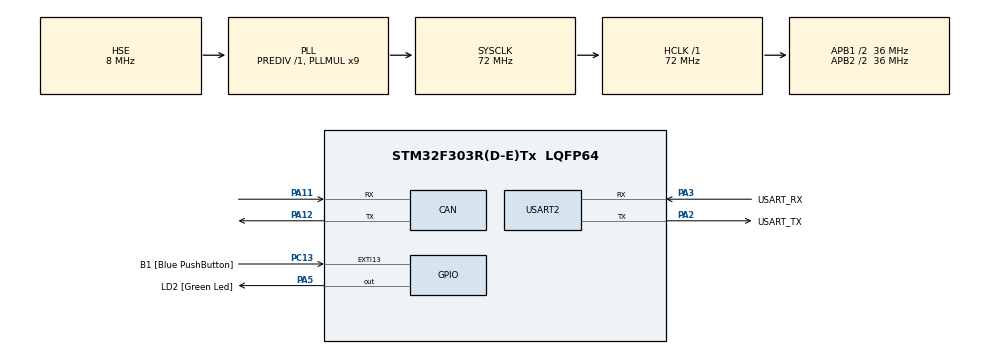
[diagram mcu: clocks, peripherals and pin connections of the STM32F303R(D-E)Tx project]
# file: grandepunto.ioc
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CAN.BS1=CAN_BS1_1TQ
CAN.BS2=CAN_BS2_1TQ
CAN.CalculateTimeQuantum=444.44444444444446
Mcu.Family=STM32F3
Mcu.Name=STM32F303R(D-E)Tx
Mcu.Package=LQFP64
NVIC.PriorityGroup=NVIC_PRIORITYGROUP_0
PA11.Mode=Master
PA11.Signal=CAN_RX
PA12.Mode=Master
PA12.Signal=CAN_TX
PA13.GPIO_Label=TMS
PA13.Mode=Serial_Wire
PA13.Signal=SYS_JTMS-SWDIO
PA14.GPIO_Label=TCK
PA14.Mode=Serial_Wire
PA14.Signal=SYS_JTCK-SWCLK
PA2.GPIO_Label=USART_TX
PA2.GPIO_Mode=GPIO_MODE_AF_PP
PA2.GPIO_PuPd=GPIO_NOPULL
PA2.GPIO_Speed=GPIO_SPEED_FREQ_LOW
PA2.Mode=Asynchronous
PA2.Signal=USART2_TX
PA3.GPIO_Label=USART_RX
PA3.GPIO_Mode=GPIO_MODE_AF_PP
PA3.GPIO_PuPd=GPIO_NOPULL
PA3.GPIO_Speed=GPIO_SPEED_FREQ_LOW
PA3.Mode=Asynchronous
PA3.Signal=USART2_RX
PA5.GPIO_Label=LD2 [Green Led]
PA5.GPIO_Mode=GPIO_MODE_OUTPUT_PP
PA5.GPIO_PuPd=GPIO_NOPULL
PA5.GPIO_Speed=GPIO_SPEED_FREQ_LOW
PA5.Signal=GPIO_Output
PB3.GPIO_Label=SWO
PB3.Signal=SYS_JTDO-TRACESWO
PC13.GPIO_Label=B1 [Blue PushButton]
PC13.GPIO_ModeDefaultEXTI=GPIO_MODE_IT_FALLING
PC13.Signal=GPXTI13
PC14-OSC32_IN.Mode=LSE-External-Oscillator
PC14-OSC32_IN.Signal=RCC_OSC32_IN
PC15-OSC32_OUT.Mode=LSE-External-Oscillator
PC15-OSC32_OUT.Signal=RCC_OSC32_OUT
PF0-OSC_IN.Mode=HSE-External-Clock-Source
PF0-OSC_IN.Signal=RCC_OSC_IN
PF1-OSC_OUT.Signal=RCC_OSC_OUT
ProjectManager.HeapSize=0x200
ProjectManager.StackSize=0x400
ProjectManager.TargetToolchain=STM32CubeIDE
RCC.AHBFreq_Value=72000000
RCC.APB1CLKDivider=RCC_HCLK_DIV2
RCC.APB1Freq_Value=36000000
RCC.APB1TimFreq_Value=72000000
RCC.APB2CLKDivider=RCC_HCLK_DIV2
RCC.APB2Freq_Value=36000000
RCC.APB2TimFreq_Value=72000000
RCC.CortexFreq_Value=72000000
RCC.HCLKFreq_Value=72000000
RCC.HSE_VALUE=8000000
RCC.HSI_VALUE=8000000
RCC.PLLM=8
RCC.PLLMUL=RCC_PLL_MUL9
RCC.PLLN=336
RCC.PLLP=RCC_PLLP_DIV4
RCC.PLLQ=7
RCC.PLLSourceVirtual=RCC_PLLSOURCE_HSE
RCC.RCC_PLLsource_Clock_Source_FROM_HSE=RCC_HSE_PREDIV_DIV2
RCC.SYSCLKFreq_VALUE=72000000
RCC.SYSCLKSourceVirtual=RCC_SYSCLKSOURCE_PLLCLK
RCC.USBFreq_Value=72000000
USART2.VirtualMode-Asynchronous=VM_ASYNC
VP_TIM6_VS_ClockSourceINT.Mode=Enable_Timer
VP_TIM7_VS_ClockSourceINT.Mode=Enable_Timer
board=NUCLEO-F303RE

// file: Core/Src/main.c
/* USER CODE BEGIN Header */
/**
  ******************************************************************************
  * @file           : main.c
  * @brief          : Main program body
  ******************************************************************************
  * @attention
  *
  * <h2><center>&copy; Copyright (c) 2020 STMicroelectronics.
  * All rights reserved.</center></h2>
  *
  * This software component is licensed by ST under BSD 3-Clause license,
  * the "License"; You may not use this file except in compliance with the
  * License. You may obtain a copy of the License at:
  *                        opensource.org/licenses/BSD-3-Clause
  *
  ******************************************************************************
  */

/* USER CODE END Header */

#include "main.h"
#include "stm32f3xx_it.h"
#include "CanLibrary.h"
/* USER CODE BEGIN Includes */
#include "stm32f3xx_hal.h"
#include "stm32f303xe.h"
#include <string.h>
#include <stdio.h>
#include <stdint.h>
#include <stdlib.h>
#include <inttypes.h>

/* USER CODE END Includes */

/* USER CODE BEGIN PD */
#define TRUE 1
#define FALSE 0
#define FIFO_BUFFER g_rxFifo;
#define USART_HEADER_LENGTH 6
#define USART_ID_LENGTH 7
#define USART_DLC_LENGTH 1
#define USART_MAX_MESSAGE_LENGTH 17
#define USART_DLC_LOCATION 23
#define LENGTH_CARRIGE_RETURN_SIGN 1
#define MAX_BUFFER_LENGTH 70
/* USER CODE END PD */

CAN_HandleTypeDef hcan;
TIM_HandleTypeDef htim6;
TIM_HandleTypeDef htim7;
UART_HandleTypeDef huart2;

/* USER CODE BEGIN PV */
CAN_TxHeaderTypeDef CanTxHeader;
CAN_MessageTypeDef canUartBuffer;
uint8_t timer200ms = 0;
uint8_t timer1000ms = 0;
uint8_t bufferUINT8[70];

/* USER CODE END PV */

void SystemClock_Config(void);
static void MX_GPIO_Init(void);
static void MX_USART2_UART_Init(void);
static void MX_CAN_Init(void);
static void MX_TIM6_Init(void);
static void MX_TIM7_Init(void);
/* USER CODE BEGIN PFP */
void SystemClockConfig(void);
void UART2_Init(void);
void HAL_UART_RxCpltCallback(UART_HandleTypeDef *huart);
void HAL_UART_TxCpltCallback(UART_HandleTypeDef *huart);
void Clear_Array(uint8_t array[], uint16_t size);
void Print_CAN_Frame(char CanFrameName[], uint32_t CanID, uint32_t CanDlc, uint8_t CANmsg[]);
void Parse_From_UART(char CanFrame[]);
uint8_t* Convert_To_HEX(char *string);
void Save_Data_To_CAN_Frame(CAN_MessageTypeDef *canBuffer);
void HAL_TIM_PeriodElapsedCallback(TIM_HandleTypeDef *htim);
/* USER CODE END PFP */

/* USER CODE BEGIN 0 */
// CAN_MessageTypeDef CANsampleData;
uint8_t CANmsg[8] = {0};
uint8_t CANmsgPrintTx[8] = {0}; // char table only for printing from interrupts.
uint8_t data_buffer[MAX_BUFFER_LENGTH];
uint16_t count = 0;
uint8_t rcvd_data;
uint8_t flag_UART_TX_COMPLETED = FALSE;
uint8_t flag_UART_RX_COMPLETED = FALSE;
uint8_t flag_UART_SEND_DATA = TRUE;
CAN_MessageTypeDef canUartBuffer;
HAL_UART_StateTypeDef state;
/* USER CODE END 0 */

int main(void)
{

  /* MCU Configuration--------------------------------------------------------*/

  /* Reset of all peripherals, Initializes the Flash interface and the Systick. */
	HAL_Init();

  /* Configure the system clock */
  SystemClock_Config();

  /* Initialize all configured peripherals */
  MX_GPIO_Init();
  MX_USART2_UART_Init();
  MX_CAN_Init();
  MX_TIM6_Init();
  MX_TIM7_Init();
  /* USER CODE BEGIN 2 */
  CAN_Filter_Conifg();

  if (HAL_CAN_ActivateNotification(&hcan, CAN_IT_TX_MAILBOX_EMPTY | CAN_IT_RX_FIFO0_MSG_PENDING  | CAN_IT_BUSOFF) != HAL_OK )
  {
	  Error_Handler("CAN interrupts activation error");
  }

  if ((HAL_CAN_Start(&hcan)) != HAL_OK)
  {
	  Error_Handler("CAN start error");
  }
HAL_TIM_Base_Start_IT(&htim6);
HAL_UART_Receive_IT(&huart2, &rcvd_data, 1); // przerwanie obslugujące wiadomosci przychodzace po UART.

  /* USER CODE END 2 */

  /* Infinite loop */
  /* USER CODE BEGIN WHILE */
  while (1)
  {

  if (flag_UART_SEND_DATA == TRUE)
	  	  {
		  if (timer200ms >= 1) // When 200ms elapses
			  {
			  	  /* TEST DATA 200ms */
			CAN_Tx(IPC_StatusBCM.ID, IPC_StatusBCM.DLC, IPC_StatusBCM.CAN_Tx);
	  	    HAL_Delay(10);

	        CAN_Tx(IPC_Ligths.ID, IPC_Ligths.DLC, IPC_Ligths.CAN_Tx);
	  	    HAL_Delay(10);

	        CAN_Tx(IPC_Vehicle_Setup.ID, IPC_Vehicle_Setup.DLC, IPC_Vehicle_Setup.CAN_Tx);
	  	    HAL_Delay(10);

	        CAN_Tx(STATUS_IPC.ID, STATUS_IPC.DLC, STATUS_IPC.CAN_Tx);
	  	    HAL_Delay(10);
        /*
          CAN_Tx(IPC_StatusBCM.ID, IPC_StatusBCM.DLC, IPC_StatusBCM.CAN_Tx);
          HAL_Delay(50);

          CAN_Tx(IPC_SeatBelts.ID, IPC_SeatBelts.DLC, IPC_SeatBelts.CAN_Tx);
          HAL_Delay(50);

          CAN_Tx(IPC_EngineInfo.ID, IPC_EngineInfo.DLC, IPC_EngineInfo.CAN_Tx);
          HAL_Delay(50);

          CAN_Tx(IPC_StatusB_EPS.ID, IPC_StatusB_EPS.DLC, IPC_StatusB_EPS.CAN_Tx);
          HAL_Delay(50);

          CAN_Tx(IPC_StatusB_BSM.ID, IPC_StatusB_BSM.DLC, IPC_StatusB_BSM.CAN_Tx);
          HAL_Delay(50);

          CAN_Tx(IPC_SpeedOdometerInfo.ID, IPC_SpeedOdometerInfo.DLC, IPC_SpeedOdometerInfo.CAN_Tx);
          HAL_Delay(50);

          CAN_Tx(IPC_Ligths.ID, IPC_Ligths.DLC, IPC_Ligths.CAN_Tx);
          HAL_Delay(50);

          CAN_Tx(IPC_HeartBeat.ID, IPC_HeartBeat.DLC, IPC_HeartBeat.CAN_Tx);
          HAL_Delay(50);

          HAL_Delay(20);

          Print_CAN_Frame("Tx", IPC_Ligths.ID, IPC_Ligths.DLC, IPC_Ligths.CAN_Tx);
          HAL_Delay(1000);

        */
			  	 timer200ms = 0;

			  }
		  else if (timer1000ms >= 5) // When 1000ms elapses
			  {
			  	  /* TEST DATA 1000ms */

				  timer200ms = 0;
				  timer1000ms = 0;

			  }
	  	 }
    while((flag_UART_RX_COMPLETED && flag_UART_TX_COMPLETED))
	  		{
	  			if (data_buffer[0] == 'S' || data_buffer[0] =='E') // if received data is START / END tx Transmission:
	  			{
	  				Clear_Array(data_buffer, (uint16_t)(strlen(data_buffer)));
	  				count = 0;
	  				flag_UART_RX_COMPLETED = FALSE;
	  				flag_UART_TX_COMPLETED = FALSE;
	  				HAL_UART_Receive_IT(&huart2, &rcvd_data, 1);
	  			}
	  			else
	  			{
				//	HAL_Delay(10); // Wait for message being sent fully
				//	Parse_From_UART(data_buffer);
					CAN_Tx(canUartBuffer.ID, canUartBuffer.DLC,canUartBuffer.CAN_Tx);
					Save_Data_To_CAN_Frame(&canUartBuffer);
					Clear_Array(data_buffer, MAX_BUFFER_LENGTH);
					count = 0;
					flag_UART_RX_COMPLETED = FALSE;
					flag_UART_TX_COMPLETED = FALSE;
	  			}
	  		}
    /* USER CODE END WHILE */

  }
}

void SystemClock_Config(void)
{
  RCC_OscInitTypeDef RCC_OscInitStruct = {0};
  RCC_ClkInitTypeDef RCC_ClkInitStruct = {0};
  RCC_PeriphCLKInitTypeDef PeriphClkInit = {0};

  /** Initializes the CPU, AHB and APB busses clocks
  */
  RCC_OscInitStruct.OscillatorType = RCC_OSCILLATORTYPE_HSE;
  RCC_OscInitStruct.HSEState = RCC_HSE_ON;
//  RCC_OscInitStruct.HSEState = RCC_HSE_BYPASS;
//  RCC_OscInitStruct.HSIState = RCC_HSI_ON;
  RCC_OscInitStruct.PLL.PLLState = RCC_PLL_ON;
  RCC_OscInitStruct.PLL.PLLSource = RCC_PLLSOURCE_HSE;
  RCC_OscInitStruct.PLL.PLLMUL = RCC_PLL_MUL9;
  RCC_OscInitStruct.PLL.PREDIV = RCC_PREDIV_DIV1;
  if (HAL_RCC_OscConfig(&RCC_OscInitStruct) != HAL_OK)
  {
    Error_Handler("System Clock initialization error");
  }
  /** Initializes the CPU, AHB and APB busses clocks
  */
  RCC_ClkInitStruct.ClockType = RCC_CLOCKTYPE_HCLK|RCC_CLOCKTYPE_SYSCLK
                              |RCC_CLOCKTYPE_PCLK1|RCC_CLOCKTYPE_PCLK2;
  RCC_ClkInitStruct.SYSCLKSource = RCC_SYSCLKSOURCE_PLLCLK;
  RCC_ClkInitStruct.AHBCLKDivider = RCC_SYSCLK_DIV1;
  RCC_ClkInitStruct.APB1CLKDivider = RCC_HCLK_DIV2;
  RCC_ClkInitStruct.APB2CLKDivider = RCC_HCLK_DIV2;

  if (HAL_RCC_ClockConfig(&RCC_ClkInitStruct, FLASH_LATENCY_2) != HAL_OK)
  {
    Error_Handler("System Clock Config error");
  }
  PeriphClkInit.PeriphClockSelection = RCC_PERIPHCLK_USART2;
  PeriphClkInit.Usart2ClockSelection = RCC_USART2CLKSOURCE_PCLK1;
  if (HAL_RCCEx_PeriphCLKConfig(&PeriphClkInit) != HAL_OK)
  {
	  Error_Handler("System Clock Config error");
  }
}

static void MX_CAN_Init(void)
{

  /* USER CODE BEGIN CAN_Init 1 */
	/**
	 *  DWI: Paramters described below are based on http://www.bittiming.can-wiki.info/
	 *  Paramters were adjusted for CAN LowSpeed Network in FIAT GRANDE PUNTO: 50kbps
	 */

  hcan.Instance = CAN;
  hcan.Init.Prescaler = 45;
  hcan.Init.Mode = CAN_MODE_NORMAL;
  hcan.Init.SyncJumpWidth = CAN_SJW_1TQ;
  hcan.Init.TimeSeg1 = CAN_BS1_13TQ;
  hcan.Init.TimeSeg2 = CAN_BS2_2TQ;
  /* USER CODE END CAN_Init 1 */
  hcan.Init.TimeTriggeredMode = DISABLE;
  hcan.Init.AutoBusOff = DISABLE;
  hcan.Init.AutoWakeUp = DISABLE;
  hcan.Init.AutoRetransmission = DISABLE;
  hcan.Init.ReceiveFifoLocked = DISABLE; // DWI: New message will overwrite existing message in FIFO memory
  hcan.Init.TransmitFifoPriority = DISABLE; // DWI: Priority driven by the identifier of the message
  if (HAL_CAN_Init(&hcan) != HAL_OK)
  {
    Error_Handler("CAN initialization error");
  }

}

static void MX_TIM6_Init(void)
{

//  TIM_MasterConfigTypeDef sMasterConfig = {0};

  htim6.Instance = TIM6;
  htim6.Init.Prescaler = 224; // 200ms Interrupt
  htim6.Init.CounterMode = TIM_COUNTERMODE_UP;
  htim6.Init.Period = (63999);
 htim6.Init.AutoReloadPreload = TIM_AUTORELOAD_PRELOAD_DISABLE;
  if (HAL_TIM_Base_Init(&htim6) != HAL_OK)
  {
    Error_Handler("TIMER 6 initialization error");
  }
 // sMasterConfig.MasterOutputTrigger = TIM_TRGO_RESET;
 // sMasterConfig.MasterSlaveMode = TIM_MASTERSLAVEMODE_DISABLE;
 // if (HAL_TIMEx_MasterConfigSynchronization(&htim6, &sMasterConfig) != HAL_OK)
 // {
//	Error_Handler("TIMER 6 configuration error");
 // }

}

static void MX_TIM7_Init(void)
{
#if 0

  TIM_MasterConfigTypeDef sMasterConfig = {0};

  htim7.Instance = TIM7;
  htim7.Init.Prescaler = 0;
  htim7.Init.CounterMode = TIM_COUNTERMODE_UP;
  htim7.Init.Period = 0;
  htim7.Init.AutoReloadPreload = TIM_AUTORELOAD_PRELOAD_DISABLE;
  if (HAL_TIM_Base_Init(&htim7) != HAL_OK)
  {
	 Error_Handler("TIMER 7 initialization error");
  }
  sMasterConfig.MasterOutputTrigger = TIM_TRGO_RESET;
  sMasterConfig.MasterSlaveMode = TIM_MASTERSLAVEMODE_DISABLE;
  if (HAL_TIMEx_MasterConfigSynchronization(&htim7, &sMasterConfig) != HAL_OK)
  {
	  Error_Handler("TIMER 7 configuration error");
  }
#endif
}

static void MX_USART2_UART_Init(void)
{

  huart2.Instance = USART2;
  huart2.Init.BaudRate = 115200;
  huart2.Init.WordLength = UART_WORDLENGTH_8B;
  huart2.Init.StopBits = UART_STOPBITS_1;
  huart2.Init.Parity = UART_PARITY_NONE;
  huart2.Init.Mode = UART_MODE_TX_RX;
  huart2.Init.HwFlowCtl = UART_HWCONTROL_NONE;
  huart2.Init.OverSampling = UART_OVERSAMPLING_16;
  huart2.Init.OneBitSampling = UART_ONE_BIT_SAMPLE_DISABLE;
  huart2.AdvancedInit.AdvFeatureInit = UART_ADVFEATURE_NO_INIT;
  if (HAL_UART_Init(&huart2) != HAL_OK)
  {
    Error_Handler("USART 2 initialization error");
  }

}

static void MX_GPIO_Init(void)
{
  GPIO_InitTypeDef GPIO_InitStruct = {0};

  /* GPIO Ports Clock Enable */
  __HAL_RCC_GPIOC_CLK_ENABLE();
  __HAL_RCC_GPIOF_CLK_ENABLE();
  __HAL_RCC_GPIOA_CLK_ENABLE();
  __HAL_RCC_GPIOB_CLK_ENABLE();

  /*Configure GPIO pin Output Level */
  HAL_GPIO_WritePin(LD2_GPIO_Port, LD2_Pin, GPIO_PIN_RESET);

  /*Configure GPIO pin : B1_Pin */
  GPIO_InitStruct.Pin = B1_Pin;
  GPIO_InitStruct.Mode = GPIO_MODE_IT_FALLING;
  GPIO_InitStruct.Pull = GPIO_NOPULL;
  HAL_GPIO_Init(B1_GPIO_Port, &GPIO_InitStruct);

  /*Configure GPIO pin : LD2_Pin */
  GPIO_InitStruct.Pin = LD2_Pin;
  GPIO_InitStruct.Mode = GPIO_MODE_OUTPUT_PP;
  GPIO_InitStruct.Pull = GPIO_NOPULL;
  GPIO_InitStruct.Speed = GPIO_SPEED_FREQ_LOW;
  HAL_GPIO_Init(LD2_GPIO_Port, &GPIO_InitStruct);

}

/* USER CODE BEGIN 4 */

/**
  * @brief DWI: Print CAN message on UART
  *
  * @param CanFrameName[] - name of CAN frame as string (f.e.: "Tx","Rx",...)
  * @param CanID - identifier of CAN frame
  * @param CanDLC - data length of CAN frame
  * @param CanMsg[] - usefull data of CAN frame
  *
  * @retval Function prints CAN message on UART
  */
void Print_CAN_Frame(char CanFrameName[], uint32_t CanID, uint32_t CanDlc, uint8_t CANmsg[])
{
	char buffer[70] = {0};
	sprintf(buffer,"CAN_%s| ID:0x%02X| DLC:%d| FRAME: ",CanFrameName,(unsigned int)CanID,(unsigned int)CanDlc);
	for (uint16_t i = 0; i<CanDlc; i++)
		{
			sprintf(buffer+strlen(buffer),"%02X ",*(CANmsg+i)); // SAVE all DATA elements one by one
		}
	sprintf(buffer+strlen(buffer),"\n\r");

	/* WORKAROUND: HAL_UART_Transmit_IT have probelms to accept char array ( even typecased by memcpy() ). Manual typecasting implemented */
	Clear_Array(bufferUINT8, 70);
	for (uint8_t i = 0U; i<strlen(buffer);i++)
		{
			bufferUINT8[i] = (uint8_t)buffer[i];
		}

	if (HAL_UART_Transmit_IT(&huart2, bufferUINT8, strlen(buffer)) != HAL_OK)
	 	 {
	 		HAL_Delay(10);
	 		//Error_Handler();
	 	 }
}

/**
  * @brief by DWI: PeroidElapseCallback to callback after definied perioid of time elapse. Driver will call this function.
  * @param None
  * @retval None
  */

void HAL_TIM_PeriodElapsedCallback(TIM_HandleTypeDef *htim)
{
	timer200ms=timer200ms+1;
	timer1000ms=timer1000ms+1;

}

/**
  * @brief by DWI: CAN TX handle function for CAN Extended
  * @param None
  * @retval None
  */

void CAN_Tx(uint32_t CanID, uint8_t CanDLC, uint8_t CANmsg[])
{
	uint32_t pTxMailbox;
	CanTxHeader.DLC = CanDLC;
	CanTxHeader.ExtId = CanID;
	CanTxHeader.IDE = CAN_ID_EXT;
	CanTxHeader.RTR = CAN_RTR_DATA;

	if ((HAL_CAN_AddTxMessage(&hcan, &CanTxHeader, CANmsg, &pTxMailbox)) != HAL_OK )
	{
		Error_Handler("CAN TX error");
	}

	for (int i=0; i < CanDLC; i++)
	{
		CANmsgPrintTx[i] = CANmsg[i]; // DWI: Only copy value of CANmsg to global variable for UART communication purposes.
	}

//	while(HAL_CAN_IsTxMessagePending(&hcan, pTxMailbox));
//	Print_CAN_Frame("Tx",CanTxHeader.ExtId, CanTxHeader.DLC, CANmsg);

}

void HAL_UART_RxCpltCallback(UART_HandleTypeDef *huart)
{
	if (rcvd_data == '\r')
	{
		data_buffer[count++] = '\r';
		flag_UART_RX_COMPLETED = TRUE;
		if (data_buffer[0] == 'S' && data_buffer[1] == 'T')
			{
				flag_UART_SEND_DATA = TRUE;
			}
		else if ((data_buffer[0] == 'E' && data_buffer[1] == 'D') || (data_buffer[0] == 'E' && data_buffer[1] == 'E'))
			{
				flag_UART_SEND_DATA = FALSE;
				HAL_UART_Transmit_IT(&huart2, data_buffer, count);
				while (HAL_UART_GetState(&huart2) != HAL_UART_STATE_BUSY_TX);
				count = 0;
				HAL_UART_Receive_IT(&huart2, &rcvd_data, 1);
				return;
			}

		/* Waiting for ready of USART 2 port. Without waiting (retrasmission) code working better */
		while ((HAL_UART_GetState(&huart2) != HAL_UART_STATE_READY) && (flag_UART_TX_COMPLETED != 1));
		if (HAL_UART_Transmit_IT(&huart2, data_buffer, count) != HAL_OK)
		{
			 HAL_Delay(10); // if HAL_BUSY wait 10ms and wait for retransmission
			// Error_Handler(); // if HAL_ERROR
		}
		count = 0;
	}
	else
	{
		data_buffer[count++] = rcvd_data;
	}
	HAL_UART_Receive_IT(&huart2, &rcvd_data, 1);
}

void HAL_UART_TxCpltCallback(UART_HandleTypeDef *huart)
{
		flag_UART_TX_COMPLETED = TRUE;
}

/**
  * @brief by DWI: CAN RX handle function
  * @param None
  * @retval None
  */
void CAN_Rx(void)
{
/* DWI: Communication based on interrupts have been implemented. Function no longer needed.

	CAN_RxHeaderTypeDef CanRxHeader;
	uint8_t CANmsgRCVbuffer[8] = {};

	// DWI: wait for minimum one message in RX FIFO memory
	while(!(HAL_CAN_GetRxFifoFillLevel(&hcan, CAN_RX_FIFO0)));

	// DWI: Function to handle receiving messages.
	if ((HAL_CAN_GetRxMessage(&hcan, CAN_RX_FIFO0, &CanRxHeader, CANmsgRCVbuffer)) != HAL_OK)
	{
		Error_Handler();
	}
	Print_CAN_Frame("Rx",CanRxHeader.ExtId, CanRxHeader.DLC, CANmsgRCVbuffer);
*/
}

/**
  * @brief by DWI: CAN Acceptance Filter Configuration - v.1: Accept all frames
  * @param None
  * @retval None
  */
void CAN_Filter_Conifg(void)

{
	CAN_FilterTypeDef CANfilter;

	CANfilter.FilterBank = 0;
	CANfilter.FilterFIFOAssignment = CAN_FILTER_FIFO0;
	CANfilter.FilterIdHigh = 0x0000;
	CANfilter.FilterIdLow = 0x0000;
	CANfilter.FilterMaskIdHigh = 0x0000;
	CANfilter.FilterMaskIdLow = 0x0000;
	CANfilter.FilterMode = CAN_FILTERMODE_IDMASK;
	CANfilter.FilterScale = CAN_FILTERSCALE_32BIT;
	CANfilter.FilterActivation = CAN_FILTER_ENABLE;

	if (HAL_CAN_ConfigFilter(&hcan, &CANfilter) != HAL_OK)
	{
		Error_Handler("CAN Filter configuration error");
	}
}

void HAL_CAN_TxMailbox0CompleteCallback(CAN_HandleTypeDef *hcan)
{
	if (1)
	{
		Print_CAN_Frame("Tx0",CanTxHeader.ExtId, CanTxHeader.DLC, CANmsgPrintTx);
	}
}

void HAL_CAN_TxMailbox1CompleteCallback(CAN_HandleTypeDef *hcan)
{
	if (1)
	{
		Print_CAN_Frame("Tx1",CanTxHeader.ExtId, CanTxHeader.DLC, CANmsgPrintTx);
	}
}

void HAL_CAN_TxMailbox2CompleteCallback(CAN_HandleTypeDef *hcan)
{
	if (1)
	{
		Print_CAN_Frame("Tx2",CanTxHeader.ExtId, CanTxHeader.DLC, CANmsgPrintTx);
	}
}

void HAL_CAN_RxFifo0MsgPendingCallback(CAN_HandleTypeDef *hcan)
{
	if (flag_UART_SEND_DATA == TRUE)
	{
		CAN_RxHeaderTypeDef CanRxHeader;
		uint8_t CANmsgRCVbuffer[8] = {};
	// DWI: wait for minimum one message in RX FIFO memory
	// while(!(HAL_CAN_GetRxFifoFillLevel(&hcan, CAN_RX_FIFO0)));

	// DWI: Function to handle receiving messages.
		if ((HAL_CAN_GetRxMessage(hcan, CAN_RX_FIFO0, &CanRxHeader, CANmsgRCVbuffer)) != HAL_OK)
		{
			Error_Handler("CAN RX error");
		}

		Print_CAN_Frame("Rx ",CanRxHeader.ExtId, CanRxHeader.DLC, CANmsgRCVbuffer);
		HAL_Delay(5);
	}
}

void HAL_CAN_ErrorCallback(CAN_HandleTypeDef *hcan)
{
	char buffer[50] = {0};
	sprintf(buffer, "************* CAN ERRROR *************\n\r");
	//HAL_UART_Transmit(&huart2, (uint8_t*)buffer, strlen(buffer), HAL_MAX_DELAY);
}

/* USER CODE END 4 */

void Error_Handler(char ErrorName[])
{
  /* USER CODE BEGIN Error_Handler_Debug */
  /* User can add his own implementation to report the HAL error return state */
	char buffer[100] = {0};
	sprintf(buffer, "************* ERRROR: %s *************\n\r",ErrorName);

	while(1)
	{
	//HAL_UART_Transmit(&huart2, (uint8_t*)buffer, strlen(buffer), HAL_MAX_DELAY);
	//HAL_Delay(500);
	}

  /* USER CODE END Error_Handler_Debug */
}

void Clear_Array(uint8_t array[], uint16_t size)
{
	for (int i = 0; i < size; ++i)
	{
		array[i] = 0;
	}
}

void Parse_From_UART(char CanFrame[]) {
    char headerBuffer[USART_HEADER_LENGTH+LENGTH_CARRIGE_RETURN_SIGN] = {0};
    uint8_t index = 0;
    memcpy(headerBuffer, CanFrame, USART_HEADER_LENGTH);

    if (strcmp(headerBuffer, "CAN_Tx") == 0)
    {
    	uint8_t bufferIndex = 0;
        char idBuffer[USART_ID_LENGTH] = {0};
        char dlcBuffer[USART_DLC_LENGTH] = {0};
        char messageBuffer[USART_MAX_MESSAGE_LENGTH+LENGTH_CARRIGE_RETURN_SIGN] = {0};
        uint8_t *pDataConverter;

        memcpy(idBuffer,CanFrame+11,USART_ID_LENGTH);
        dlcBuffer[0] = CanFrame[24];
		for (index = 35; CanFrame[index] != '\r'; ++index)
		{
			if (CanFrame[index] == ' ')
				continue;
			else
			{
				messageBuffer[bufferIndex] = CanFrame[index];
				bufferIndex++;
			}
		}
        canUartBuffer.DLC = dlcBuffer[0] - '0';
        sscanf(idBuffer, "%lX", &canUartBuffer.ID);
        pDataConverter = Convert_To_HEX(messageBuffer);
        for (size_t var = 0; var < canUartBuffer.DLC; var++)
        {
        	canUartBuffer.CAN_Tx[var] = *(pDataConverter+var);
        }
    }
		else if (strcmp(headerBuffer, "_RESET") == 0)
		{
			NVIC_SystemReset();								//Perorm reset of a Nucleo board
		}
		else if (strcmp(headerBuffer, "FIL_CF") == 0)
		{
			printf("Set Filer\n"); // ToDo: Perform some basic operations for filters
		}
		else
		{
			//Error_Handler();
		}
}

uint8_t* Convert_To_HEX(char *string) {
	static uint8_t val[MAX_CAN_MESSAGE_SIZE];
	memset(val, 0, MAX_CAN_MESSAGE_SIZE * sizeof(uint8_t));

	uint8_t index = 0;
	while (*string) {
		// get current character then increment
		uint8_t byte = *string++;
		// transform hex character to the 4bit equivalent number, using the ascii table indexes
		if (byte >= '0' && byte <= '9')
			byte = byte - '0';
		else if (byte >= 'a' && byte <= 'f')
			byte = byte - 'a' + 10;
		else if (byte >= 'A' && byte <= 'F')
			byte = byte - 'A' + 10;
		// shift 4 to make space for new digit, and add the 4 bits of the new digit
		val[index / 2] = (val[index / 2] << 4) | (byte & 0xF);
		index++;
	}
	return val;
}

void Save_Data_To_CAN_Frame(CAN_MessageTypeDef *canBuffer)
{
	// ToDo: switch case implementation

	switch (canBuffer->ID) {
	case (0x2214000):									// IPC Ligths
		IPC_Ligths.DLC = canBuffer->DLC;
		for (uint8_t i = 0; i < IPC_Ligths.DLC; ++i) {
			IPC_Ligths.CAN_Tx[i] = canBuffer->CAN_Tx[i];
		}
		break;
	case (0x4294000): 									// IPC SpeedOdometerInfo
			IPC_SpeedOdometerInfo.DLC = canBuffer->DLC;
			for (uint8_t i = 0; i < IPC_SpeedOdometerInfo.DLC; ++i) {
				IPC_SpeedOdometerInfo.CAN_Tx[i] = canBuffer->CAN_Tx[i];
			}
			break;
	case (0x6214000):									// IPC StatusBCM
			IPC_StatusBCM.DLC = canBuffer->DLC;
			for (uint8_t i = 0; i < IPC_StatusBCM.DLC; ++i) {
				IPC_StatusBCM.CAN_Tx[i] = canBuffer->CAN_Tx[i];
			}
			break;
	case (0x6314003):									// IPC StatusBCM
				STATUS_IPC.DLC = canBuffer->DLC;
			for (uint8_t i = 0; i < STATUS_IPC.DLC; ++i) {
				STATUS_IPC.CAN_Tx[i] = canBuffer->CAN_Tx[i];
			}
			break;
	default:
		break;
	}
}

/************************ (C) COPYRIGHT STMicroelectronics *****END OF FILE****/
